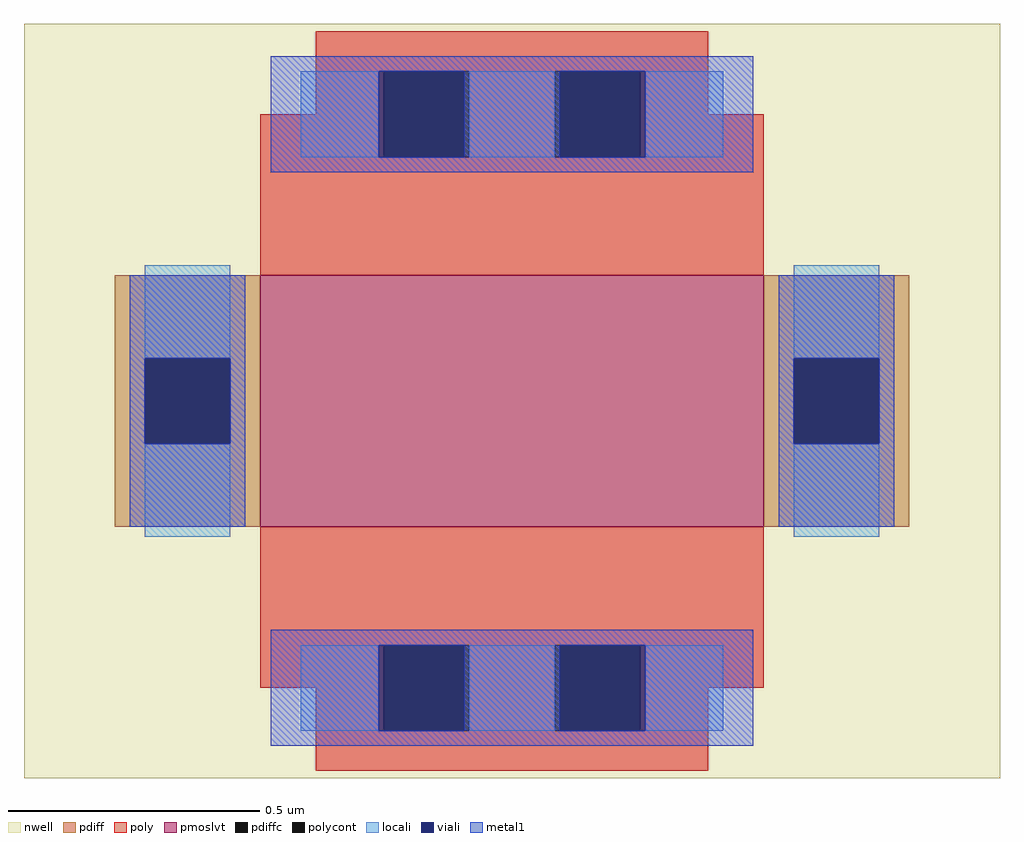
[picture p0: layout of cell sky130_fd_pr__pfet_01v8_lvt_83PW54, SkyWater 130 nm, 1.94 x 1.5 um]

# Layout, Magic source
magic
tech sky130A
magscale 1 2
<< nwell >>
rect -194 -150 194 150
<< pmoslvt >>
rect -100 -50 100 50
<< pdiff >>
rect -158 17 -100 50
rect -158 -17 -146 17
rect -112 -17 -100 17
rect -158 -50 -100 -17
rect 100 17 158 50
rect 100 -17 112 17
rect 146 -17 158 17
rect 100 -50 158 -17
<< pdiffc >>
rect -146 -17 -112 17
rect 112 -17 146 17
<< poly >>
rect -78 131 78 147
rect -78 114 -51 131
rect -100 97 -51 114
rect -17 97 17 131
rect 51 114 78 131
rect 51 97 100 114
rect -100 50 100 97
rect -100 -97 100 -50
rect -100 -114 -51 -97
rect -78 -131 -51 -114
rect -17 -131 17 -97
rect 51 -114 100 -97
rect 51 -131 78 -114
rect -78 -147 78 -131
<< polycont >>
rect -51 97 -17 131
rect 17 97 51 131
rect -51 -131 -17 -97
rect 17 -131 51 -97
<< locali >>
rect -84 97 -53 131
rect -17 97 17 131
rect 53 97 84 131
rect -146 17 -112 54
rect -146 -54 -112 -17
rect 112 17 146 54
rect 112 -54 146 -17
rect -84 -131 -53 -97
rect -17 -131 17 -97
rect 53 -131 84 -97
<< viali >>
rect -53 97 -51 131
rect -51 97 -19 131
rect 19 97 51 131
rect 51 97 53 131
rect -146 -17 -112 17
rect 112 -17 146 17
rect -53 -131 -51 -97
rect -51 -131 -19 -97
rect 19 -131 51 -97
rect 51 -131 53 -97
<< metal1 >>
rect -96 131 96 137
rect -96 97 -53 131
rect -19 97 19 131
rect 53 97 96 131
rect -96 91 96 97
rect -152 17 -106 50
rect -152 -17 -146 17
rect -112 -17 -106 17
rect -152 -50 -106 -17
rect 106 17 152 50
rect 106 -17 112 17
rect 146 -17 152 17
rect 106 -50 152 -17
rect -96 -97 96 -91
rect -96 -131 -53 -97
rect -19 -131 19 -97
rect 53 -131 96 -97
rect -96 -137 96 -131
<< end >>
